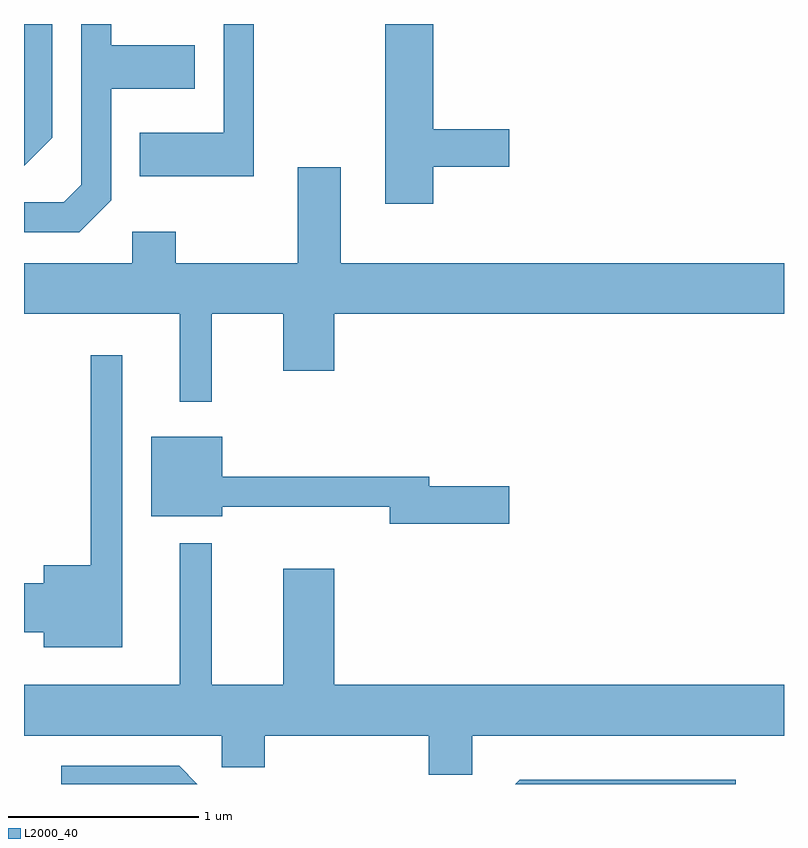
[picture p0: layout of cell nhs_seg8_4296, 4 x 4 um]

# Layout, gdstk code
import gdstk
lib = gdstk.Library(unit=1e-6, precision=1e-09)
def P(c, l, *ps):  # polygons
    for p in ps: c.add(gdstk.Polygon(p, *l))
L2000_40 = (2000, 40)

nhs_seg8_4296 = lib.new_cell('nhs_seg8_4296')
P(nhs_seg8_4296, L2000_40, [(314.819,1882.342),(314.661,1882.342),(314.661,1881.769),(314.221,1881.769),(314.221,1881.541),(314.819,1881.541)],
  [(313.759,1881.744),(313.759,1882.342),(313.611,1882.342),(313.611,1881.595)],
  [(314.013,1881.357),(314.069,1881.414),(314.069,1882.001),(314.509,1882.001),(314.509,1882.229),(314.069,1882.229),(314.069,1882.342),(313.911,1882.342),(313.911,1881.497),(313.819,1881.404),(313.611,1881.404),(313.611,1881.246),(313.902,1881.246)],
  [(315.764,1881.591),(316.164,1881.591),(316.164,1881.789),(315.764,1881.789),(315.764,1882.342),(315.511,1882.342),(315.511,1881.396),(315.764,1881.396)],
  [(314.599,1880.816),(314.976,1880.816),(314.976,1880.516),(315.244,1880.516),(315.244,1880.816),(317.611,1880.816),(317.611,1881.084),(315.279,1881.084),(315.279,1881.589),(315.051,1881.589),(315.051,1881.084),(314.409,1881.084),(314.409,1881.249),(314.181,1881.249),(314.181,1881.084),(313.611,1881.084),(313.611,1880.816),(314.431,1880.816),(314.431,1880.353),(314.599,1880.353)],
  [(314.129,1880.598),(313.961,1880.598),(313.961,1879.494),(313.716,1879.494),(313.716,1879.399),(313.611,1879.399),(313.611,1879.141),(313.716,1879.141),(313.716,1879.061),(314.129,1879.061)],
  [(316.164,1879.909),(315.744,1879.909),(315.744,1879.959),(314.654,1879.959),(314.654,1880.169),(314.281,1880.169),(314.281,1879.751),(314.654,1879.751),(314.654,1879.801),(315.536,1879.801),(315.536,1879.711),(316.164,1879.711)],
  [(315.969,1878.596),(317.611,1878.596),(317.611,1878.864),(315.244,1878.864),(315.244,1879.474),(314.976,1879.474),(314.976,1878.864),(314.599,1878.864),(314.599,1879.608),(314.431,1879.608),(314.431,1878.864),(313.611,1878.864),(313.611,1878.596),(314.651,1878.596),(314.651,1878.431),(314.879,1878.431),(314.879,1878.596),(315.741,1878.596),(315.741,1878.391),(315.969,1878.391)],
  [(314.427,1878.439),(313.806,1878.439),(313.806,1878.342),(314.524,1878.342)],
  [(317.358,1878.364),(316.219,1878.364),(316.197,1878.342),(317.358,1878.342)])

lib.write_gds('nhs_seg8_4296.gds')
